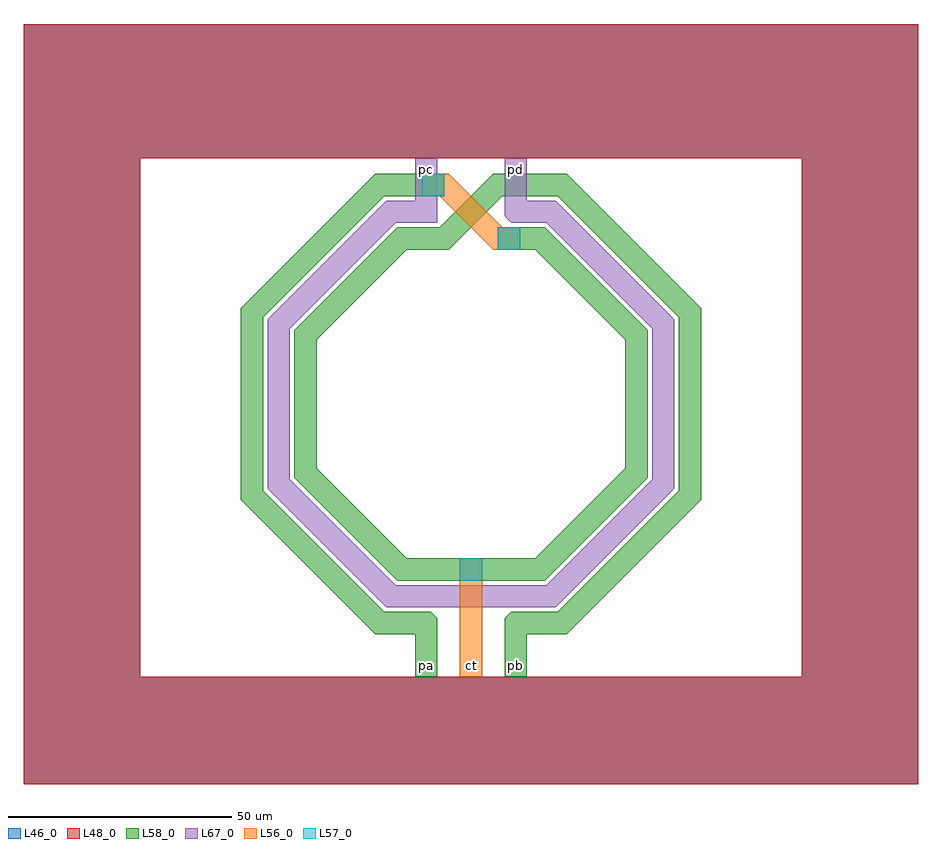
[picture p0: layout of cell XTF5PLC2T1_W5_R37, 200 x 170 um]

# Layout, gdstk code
import gdstk
lib = gdstk.Library(unit=1e-6, precision=1e-09)
def R(c, l, rs):  # rectangles x0, y0, x1, y1
    for r in rs: c.add(gdstk.rectangle(r[:2], r[2:], *l))
def P(c, l, *ps):  # polygons
    for p in ps: c.add(gdstk.Polygon(p, *l))
L46_0 = (46, 0)
L48_0 = (48, 0)
L56_0 = (56, 0)
L57_0 = (57, 0)
L58_0 = (58, 0)
L67_0 = (67, 0)

xtf5plc2t1_w5_r37 = lib.new_cell('XTF5PLC2T1_W5_R37')
P(xtf5plc2t1_w5_r37, L46_0, [(100,-85),(-100,-85),(-100,85),(74,85),(74,55),(-74,55),(-74,-61),(74,-61),(74,85),(100,85)])
P(xtf5plc2t1_w5_r37, L48_0, [(100,-85),(-100,-85),(-100,85),(74,85),(74,55),(-74,55),(-74,-61),(74,-61),(74,85),(100,85)])
R(xtf5plc2t1_w5_r37, L56_0, [(-2.5,-61,2.5,-34.5), (-2.5,-61,2.5,-56)])
P(xtf5plc2t1_w5_r37, L56_0, [(11,34.5),(4.965,34.5),(-7.035,46.5),(-11,46.5),(-11,51.5),(-4.965,51.5),(7.035,39.5),(11,39.5)])
R(xtf5plc2t1_w5_r37, L57_0, [(-2.5,-39.5,2.5,-34.5), (6,34.5,11,39.5), (-11,46.5,-6,51.5)])
R(xtf5plc2t1_w5_r37, L58_0, [(-12.5,-61,-7.5,-56), (7.5,-61,12.5,-56)])
P(xtf5plc2t1_w5_r37, L58_0, [(-6,46.5),(-19.39,46.5),(-46.5,19.39),(-46.5,-19.39),(-19.39,-46.5),(-8.965,-46.5),(-7.5,-47.965),(-7.5,-61),(-12.5,-61),(-12.5,-51.5),(-21.46,-51.5),(-51.5,-21.46),(-51.5,21.46),(-21.46,51.5),(-6,51.5)],
  [(51.5,-21.46),(21.46,-51.5),(12.5,-51.5),(12.5,-61),(7.5,-61),(7.5,-47.965),(8.965,-46.5),(19.39,-46.5),(46.5,-19.39),(46.5,19.39),(19.39,46.5),(7.035,46.5),(-4.965,34.5),(-14.385,34.5),(-34.5,14.385),(-34.5,-14.385),(-14.385,-34.5),(14.385,-34.5),(34.5,-14.385),(34.5,14.385),(14.385,34.5),(6,34.5),(6,39.5),(16.455,39.5),(39.5,16.455),(39.5,-16.455),(16.455,-39.5),(-16.455,-39.5),(-39.5,-16.455),(-39.5,16.455),(-16.455,39.5),(-7.035,39.5),(4.965,51.5),(21.46,51.5),(51.5,21.46)])
R(xtf5plc2t1_w5_r37, L67_0, [(-12.5,50,-7.5,55), (7.5,50,12.5,55)])
P(xtf5plc2t1_w5_r37, L67_0, [(45.5,-18.955),(18.955,-45.5),(-18.955,-45.5),(-45.5,-18.955),(-45.5,18.955),(-18.955,45.5),(-12.5,45.5),(-12.5,55),(-7.5,55),(-7.5,40.5),(-16.885,40.5),(-40.5,16.885),(-40.5,-16.885),(-16.885,-40.5),(16.885,-40.5),(40.5,-16.885),(40.5,16.885),(16.885,40.5),(8.965,40.5),(7.5,41.965),(7.5,55),(12.5,55),(12.5,45.5),(18.955,45.5),(45.5,18.955)])
xtf5plc2t1_w5_r37.add(gdstk.Label('pb', (10,-58.5), layer=58, texttype=0))
xtf5plc2t1_w5_r37.add(gdstk.Label('pa', (-10,-58.5), layer=58, texttype=0))
xtf5plc2t1_w5_r37.add(gdstk.Label('pd', (10,52.5), layer=67, texttype=0))
xtf5plc2t1_w5_r37.add(gdstk.Label('pc', (-10,52.5), layer=67, texttype=0))
xtf5plc2t1_w5_r37.add(gdstk.Label('ct', (0,-58.5), layer=56, texttype=0))

lib.write_gds('XTF5PLC2T1_W5_R37.gds')
